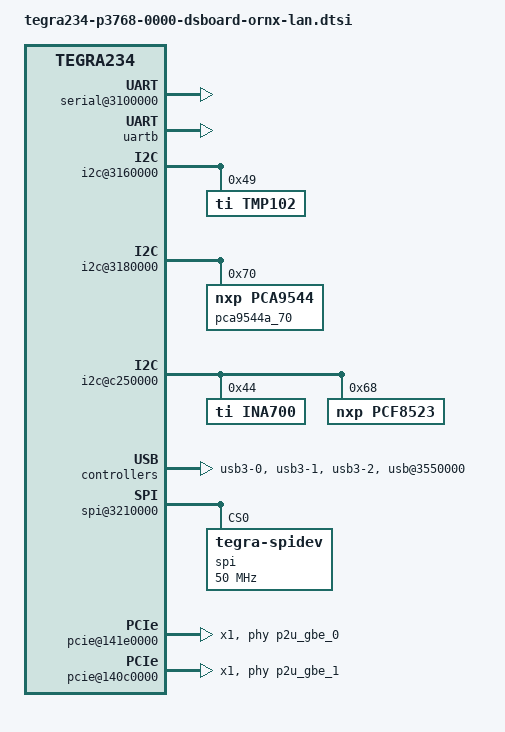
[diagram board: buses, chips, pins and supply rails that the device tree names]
// SPDX-License-Identifier: GPL-2.0-only
// SPDX-FileCopyrightText: Copyright (c) 2023-2024, NVIDIA CORPORATION & AFFILIATES.  All rights reserved.

#define CAMERA_I2C_MUX_BUS(x) (0x1E + x)

/ {
	aliases {
		serial3 = &uartb;
		rtc2 = "/bus@0/i2c@c250000/pcf8523@68";
	};

	bus@0 {
		serial@3100000 { // UART1 (uarta) (RS422 for rev-1.0; RS232/422/485 for >rev-1.1)
			status = "okay";
		};

		uartb: serial@3110000 { // UART0 (uartb) (RS232 for rev-1.0)
			status = "okay";
			compatible = "nvidia,tegra194-hsuart";
			reset-names = "serial";
		};

		i2c@3160000 {
			tmp102: tmp102@49 { // Temperature Sensor - removed since rev-2.0
				status = "okay";
				compatible = "ti,tmp102";
				reg = <0x49>;
				#thermal-sensor-cells = <0>;
			};
		};

		i2c@3180000 {
			pca9544a_70: pca9544a@70 {
				status = "okay";
				compatible = "nxp,pca9544";
				reg = <0x70>;
				#address-cells = <1>;
				#size-cells = <0>;
				skip_mux_detect;
				force_bus_start = <CAMERA_I2C_MUX_BUS(0)>;
			};
		};

		i2c@c250000 { // using since rev-2.0
			// 0x44 - INA700 Power Monitor
			ina700@44 {
				status = "okay";
				compatible = "ti,ina700";
				reg = <0x44>;
			};

			// 0x68 - PCF8523 RTC
			pcf8523@68 {
				status = "okay";
				compatible = "nxp,pcf8523";
				reg = <0x68>;
			};

			// 0x6B - 2536030320001 6-AXIS IMU & TEMP SENSOR
		};

		padctl@3520000 {
			ports {
				usb3-0 {
					nvidia,usb2-companion = <1>;
					status = "okay";
				};
				usb3-1 {
					nvidia,usb2-companion = <0>;
					status = "okay";
				};
				usb3-2 {
					nvidia,usb2-companion = <2>; 
					status = "okay";
				};
			};
		};
		usb@3550000 {
			status = "okay";

			phys = <&{/bus@0/padctl@3520000/pads/usb2/lanes/usb2-0}>,
			       <&{/bus@0/padctl@3520000/pads/usb3/lanes/usb3-1}>;
			phy-names = "usb2-0", "usb3-1";
		};

		spi@3210000{ // SPI0 with CS0 on expansion connector
			status = "okay";
			spi@0 {
				compatible = "tegra-spidev";
				reg = <0x0>;
				spi-max-frequency = <50000000>;
				controller-data {
					nvidia,enable-hw-based-cs;
					nvidia,rx-clk-tap-delay = <0x10>;
					nvidia,tx-clk-tap-delay = <0x0>;
				};
			};
		};

		pcie@141e0000 { /* C7x1 node */
			status = "okay";
			num-lanes = <1>;
			phys = <&p2u_gbe_0>;
			phy-names = "p2u-0";
		};

		pcie@140c0000 { /* C9x1 node */
			status = "okay";
			num-lanes = <1>;
			phys = <&p2u_gbe_1>;
			phy-names = "p2u-0";
		};
	};
};
